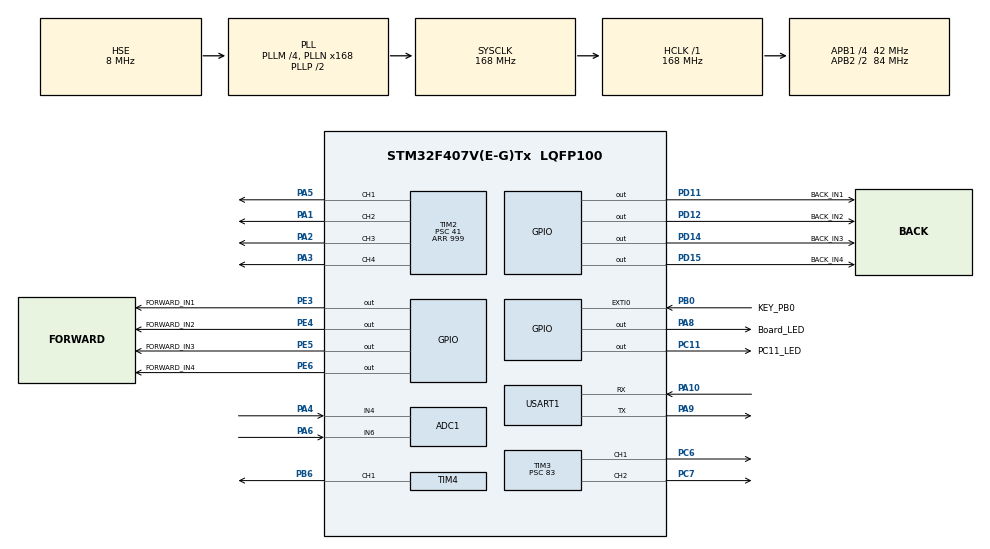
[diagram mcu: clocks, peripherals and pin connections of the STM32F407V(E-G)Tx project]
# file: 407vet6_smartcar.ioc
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ADC1.Channel-0\#ChannelRegularConversion=ADC_CHANNEL_4
ADC1.Channel-1\#ChannelRegularConversion=ADC_CHANNEL_6
ADC1.ContinuousConvMode=ENABLE
ADC1.DMAContinuousRequests=ENABLE
ADC1.NbrOfConversion=2
ADC1.NbrOfConversionFlag=1
ADC1.Rank-0\#ChannelRegularConversion=1
ADC1.Rank-1\#ChannelRegularConversion=2
ADC1.SamplingTime-0\#ChannelRegularConversion=ADC_SAMPLETIME_3CYCLES
ADC1.SamplingTime-1\#ChannelRegularConversion=ADC_SAMPLETIME_3CYCLES
ADC1.ScanConvMode=ENABLE
ADC1.master=1
Dma.ADC1.0.Direction=DMA_PERIPH_TO_MEMORY
Dma.ADC1.0.FIFOMode=DMA_FIFOMODE_DISABLE
Dma.ADC1.0.Instance=DMA2_Stream0
Dma.ADC1.0.MemDataAlignment=DMA_MDATAALIGN_HALFWORD
Dma.ADC1.0.MemInc=DMA_MINC_ENABLE
Dma.ADC1.0.Mode=DMA_NORMAL
Dma.ADC1.0.PeriphDataAlignment=DMA_PDATAALIGN_HALFWORD
Dma.ADC1.0.PeriphInc=DMA_PINC_DISABLE
Dma.ADC1.0.Priority=DMA_PRIORITY_LOW
Dma.Request0=ADC1
Mcu.Family=STM32F4
Mcu.Name=STM32F407V(E-G)Tx
Mcu.Package=LQFP100
NVIC.ADC_IRQn=true\:0\:0\:false\:false\:true\:true\:true\:true
NVIC.DMA2_Stream0_IRQn=true\:0\:0\:false\:false\:true\:false\:true\:true
NVIC.EXTI0_IRQn=true\:2\:0\:true\:false\:true\:true\:true\:true
NVIC.PriorityGroup=NVIC_PRIORITYGROUP_4
NVIC.TIM2_IRQn=true\:3\:0\:true\:false\:true\:true\:true\:true
NVIC.TIM3_IRQn=true\:3\:0\:true\:false\:true\:true\:true\:true
NVIC.TIM4_IRQn=true\:3\:0\:true\:false\:true\:true\:true\:true
NVIC.TIM6_DAC_IRQn=true\:4\:0\:true\:false\:true\:true\:true\:true
NVIC.USART1_IRQn=true\:1\:0\:true\:false\:true\:true\:true\:true
PA1.Signal=S_TIM2_CH2
PA10.Mode=Asynchronous
PA10.Signal=USART1_RX
PA13.Mode=Serial_Wire
PA13.Signal=SYS_JTMS-SWDIO
PA14.Mode=Serial_Wire
PA14.Signal=SYS_JTCK-SWCLK
PA2.Signal=S_TIM2_CH3
PA3.Signal=S_TIM2_CH4
PA4.Signal=ADCx_IN4
PA5.Signal=S_TIM2_CH1_ETR
PA6.Signal=ADCx_IN6
PA8.GPIO_Label=Board_LED
PA8.PinState=GPIO_PIN_SET
PA8.Signal=GPIO_Output
PA9.Mode=Asynchronous
PA9.Signal=USART1_TX
PB0.GPIO_Label=KEY_PB0
PB0.GPIO_ModeDefaultEXTI=GPIO_MODE_IT_RISING
PB0.GPIO_PuPd=GPIO_PULLDOWN
PB0.Signal=GPXTI0
PB6.Signal=S_TIM4_CH1
PC11.GPIO_Label=PC11_LED
PC11.PinState=GPIO_PIN_RESET
PC11.Signal=GPIO_Output
PC6.Signal=S_TIM3_CH1
PC7.Signal=S_TIM3_CH2
PD11.GPIO_Label=BACK_IN1
PD11.GPIO_Speed=GPIO_SPEED_FREQ_HIGH
PD11.PinState=GPIO_PIN_RESET
PD11.Signal=GPIO_Output
PD12.GPIO_Label=BACK_IN2
PD12.GPIO_Speed=GPIO_SPEED_FREQ_HIGH
PD12.PinState=GPIO_PIN_RESET
PD12.Signal=GPIO_Output
PD14.GPIO_Label=BACK_IN3
PD14.GPIO_Speed=GPIO_SPEED_FREQ_HIGH
PD14.PinState=GPIO_PIN_RESET
PD14.Signal=GPIO_Output
PD15.GPIO_Label=BACK_IN4
PD15.GPIO_Speed=GPIO_SPEED_FREQ_HIGH
PD15.PinState=GPIO_PIN_RESET
PD15.Signal=GPIO_Output
PE3.GPIO_Label=FORWARD_IN1
PE3.GPIO_Speed=GPIO_SPEED_FREQ_HIGH
PE3.PinState=GPIO_PIN_RESET
PE3.Signal=GPIO_Output
PE4.GPIO_Label=FORWARD_IN2
PE4.GPIO_Speed=GPIO_SPEED_FREQ_HIGH
PE4.PinState=GPIO_PIN_RESET
PE4.Signal=GPIO_Output
PE5.GPIO_Label=FORWARD_IN3
PE5.GPIO_Speed=GPIO_SPEED_FREQ_HIGH
PE5.PinState=GPIO_PIN_RESET
PE5.Signal=GPIO_Output
PE6.GPIO_Label=FORWARD_IN4
PE6.GPIO_Speed=GPIO_SPEED_FREQ_HIGH
PE6.PinState=GPIO_PIN_RESET
PE6.Signal=GPIO_Output
PH0-OSC_IN.Mode=HSE-External-Oscillator
PH0-OSC_IN.Signal=RCC_OSC_IN
PH1-OSC_OUT.Mode=HSE-External-Oscillator
PH1-OSC_OUT.Signal=RCC_OSC_OUT
ProjectManager.HeapSize=0x200
ProjectManager.StackSize=0x400
ProjectManager.TargetToolchain=STM32CubeIDE
RCC.48MHZClocksFreq_Value=84000000
RCC.AHBFreq_Value=168000000
RCC.APB1CLKDivider=RCC_HCLK_DIV4
RCC.APB1Freq_Value=42000000
RCC.APB1TimFreq_Value=84000000
RCC.APB2CLKDivider=RCC_HCLK_DIV2
RCC.APB2Freq_Value=84000000
RCC.APB2TimFreq_Value=168000000
RCC.CortexFreq_Value=168000000
RCC.HCLKFreq_Value=168000000
RCC.HSE_VALUE=8000000
RCC.HSI_VALUE=16000000
RCC.LSE_VALUE=32768
RCC.PLLM=4
RCC.PLLN=168
RCC.PLLSourceVirtual=RCC_PLLSOURCE_HSE
RCC.SYSCLKFreq_VALUE=168000000
RCC.SYSCLKSource=RCC_SYSCLKSOURCE_PLLCLK
RCC.VCOOutputFreq_Value=336000000
SH.ADCx_IN4.0=ADC1_IN4,IN4
SH.ADCx_IN6.0=ADC1_IN6,IN6
SH.S_TIM2_CH1_ETR.0=TIM2_CH1,PWM Generation1 CH1
SH.S_TIM2_CH2.0=TIM2_CH2,PWM Generation2 CH2
SH.S_TIM2_CH3.0=TIM2_CH3,PWM Generation3 CH3
SH.S_TIM2_CH4.0=TIM2_CH4,PWM Generation4 CH4
SH.S_TIM3_CH1.0=TIM3_CH1,PWM Generation1 CH1
SH.S_TIM3_CH2.0=TIM3_CH2,PWM Generation2 CH2
SH.S_TIM4_CH1.0=TIM4_CH1,PWM Generation1 CH1
TIM2.Channel-PWM\ Generation1\ CH1=TIM_CHANNEL_1
TIM2.Channel-PWM\ Generation2\ CH2=TIM_CHANNEL_2
TIM2.Channel-PWM\ Generation3\ CH3=TIM_CHANNEL_3
TIM2.Channel-PWM\ Generation4\ CH4=TIM_CHANNEL_4
TIM2.Period=999
TIM2.Prescaler=41
TIM2.Pulse-PWM\ Generation1\ CH1=500
TIM2.Pulse-PWM\ Generation2\ CH2=500
TIM2.Pulse-PWM\ Generation3\ CH3=500
TIM2.Pulse-PWM\ Generation4\ CH4=500
TIM3.Channel-PWM\ Generation1\ CH1=TIM_CHANNEL_1
TIM3.Channel-PWM\ Generation2\ CH2=TIM_CHANNEL_2
TIM3.Period=999
TIM3.Prescaler=83
TIM3.Pulse-PWM\ Generation1\ CH1=750
TIM3.Pulse-PWM\ Generation2\ CH2=750
TIM4.Channel-PWM\ Generation1\ CH1=TIM_CHANNEL_1
TIM4.Period=999
TIM4.Prescaler=83
TIM4.Pulse-PWM\ Generation1\ CH1=750
TIM6.Period=8399
TIM6.Prescaler=9999
USART1.VirtualMode=VM_ASYNC
VP_TIM2_VS_ClockSourceINT.Mode=Internal
VP_TIM6_VS_ClockSourceINT.Mode=Enable_Timer
board=custom

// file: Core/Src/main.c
/* USER CODE BEGIN Header */
/**
  ******************************************************************************
  * @file           : main.c
  * @brief          : Main program body
  ******************************************************************************
  * @attention
  *
  * Copyright (c) 2023 STMicroelectronics.
  * All rights reserved.
  *
  * This software is licensed under terms that can be found in the LICENSE file
  * in the root directory of this software component.
  * If no LICENSE file comes with this software, it is provided AS-IS.
  *
  ******************************************************************************
  */
/* USER CODE END Header */
#include "main.h"

/* USER CODE BEGIN Includes */
#include "stdio.h"
#include <string.h>
/* USER CODE END Includes */

/* USER CODE BEGIN PD */
#define RXBUFFERSIZE 1   //串口接收缓冲区的长度

// ADC采样参数
#define ADC1_CHANNEL_NUM 2
#define ADC1_SAMPLING_TIMES 3

/* USER CODE END PD */

ADC_HandleTypeDef hadc1;
DMA_HandleTypeDef hdma_adc1;

TIM_HandleTypeDef htim2;
TIM_HandleTypeDef htim3;
TIM_HandleTypeDef htim4;
TIM_HandleTypeDef htim6;

UART_HandleTypeDef huart1;

/* USER CODE BEGIN PV */
uint16_t PwmValCH1 = 0;
uint16_t PwmValCH2 = 8200;

uint16_t tim6_counter = 0;
uint16_t tim6_desired_time = 10;

uint8_t RXBUFFER[RXBUFFERSIZE]; //串口接收数据数组

// 摇杆ADC采集数组
uint16_t ADC1_ConvertedValue[ADC1_SAMPLING_TIMES][ADC1_CHANNEL_NUM] = {0};
uint32_t ADC1_FilteredValue[ADC1_CHANNEL_NUM] = {0};
float ADC1_Measured_Voltage[ADC1_CHANNEL_NUM] = {0};

//串口发送测试
uint8_t CommInitMessage[] = "Init is ok\r\n";
uint8_t CommOkMessage[] = "Everything is ok\r\n";
uint8_t CommFlag = 0;

// 轮子工作状态枚举类型
typedef enum {
	Direction_Forward,
	Direction_Backward,
	Direction_Stop
} WheelDirection;

// 摇杆读取的数值
struct JoytickAdcValue{
	uint16_t Xaxis;
	uint16_t Yaxis;
};

//__IO uint32_t PWM_OUT ENABLE;
uint16_t DCMotor_PWM_OUT = 1;

//振动马达PWM输出flag
uint16_t Vibration_Motor_PWM_OUT = 1;

/* USER CODE END PV */

void SystemClock_Config(void);
static void MX_GPIO_Init(void);
static void MX_DMA_Init(void);
static void MX_TIM2_Init(void);
static void MX_TIM6_Init(void);
static void MX_USART1_UART_Init(void);
static void MX_ADC1_Init(void);
static void MX_TIM3_Init(void);
static void MX_TIM4_Init(void);
/* USER CODE BEGIN PFP */
static void Wheel_Rotate_Direction(WheelDirection LeftFrontDirection,
									WheelDirection RightFrontDirection,
									WheelDirection LeftRearDirection,
									WheelDirection RightRearDirection);
struct JoytickAdcValue JoytickReadValue(void);
/* USER CODE END PFP */

int main(void)
{

  /* MCU Configuration--------------------------------------------------------*/

  /* Reset of all peripherals, Initializes the Flash interface and the Systick. */
  HAL_Init();

  /* Configure the system clock */
  SystemClock_Config();

  /* Initialize all configured peripherals */
  MX_GPIO_Init();
  MX_DMA_Init();
  MX_TIM2_Init();
  MX_TIM6_Init();
  MX_USART1_UART_Init();
  MX_ADC1_Init();
  MX_TIM3_Init();
  MX_TIM4_Init();
  /* USER CODE BEGIN 2 */

  // 定义缓冲区，设置数据接收长度，开启串口中断接收
  HAL_UART_Receive_IT(&huart1, (uint8_t *)RXBUFFER, RXBUFFERSIZE);

  // 测试发送
  HAL_UART_Transmit(&huart1, CommInitMessage, sizeof(CommInitMessage), 1000);

  // 设置pwm的频率为10khz， pwm的频率范围一般要为1khz - 20khz
  HAL_TIM_Base_Start_IT(&htim2);
  HAL_TIM_PWM_Start(&htim2, TIM_CHANNEL_1);
  HAL_TIM_PWM_Start(&htim2, TIM_CHANNEL_2);
  HAL_TIM_PWM_Start(&htim2, TIM_CHANNEL_3);
  HAL_TIM_PWM_Start(&htim2, TIM_CHANNEL_4);

  HAL_TIM_Base_Start_IT(&htim3);
  HAL_TIM_PWM_Start(&htim3, TIM_CHANNEL_1);
  HAL_TIM_PWM_Start(&htim3, TIM_CHANNEL_2);
  HAL_TIM_PWM_Start(&htim3, TIM_CHANNEL_4);

  HAL_TIM_Base_Start_IT(&htim4);
  HAL_TIM_PWM_Start(&htim4, TIM_CHANNEL_1);

  HAL_TIM_Base_Start_IT(&htim6);

  /*********小车行进测试************

  // 前进
  Wheel_Rotate_Direction(Direction_Forward, Direction_Forward, Direction_Forward, Direction_Forward);
  HAL_Delay(2000);

  // 后退
  Wheel_Rotate_Direction(Direction_Backward, Direction_Backward, Direction_Backward, Direction_Backward);
  HAL_Delay(2000);

  // 向左
  Wheel_Rotate_Direction(Direction_Backward, Direction_Forward, Direction_Forward, Direction_Backward);
  HAL_Delay(2000);

  // 向右
  Wheel_Rotate_Direction(Direction_Forward, Direction_Backward, Direction_Backward, Direction_Forward);
  HAL_Delay(2000);

  // 电机制动
  Wheel_Rotate_Direction(Direction_Stop, Direction_Stop, Direction_Stop, Direction_Stop);

  *********小车行进测试************/

  HAL_UART_Transmit(&huart1, CommOkMessage, sizeof(CommOkMessage), 1000);

  /* USER CODE END 2 */

  /* Infinite loop */
  while (1)
  {

    /* USER CODE BEGIN 3 */

	  HAL_ADC_Start_DMA(&hadc1, (uint32_t *)&ADC1_ConvertedValue, ADC1_SAMPLING_TIMES * ADC1_CHANNEL_NUM);
	  HAL_Delay(50);

	  struct JoytickAdcValue Value = JoytickReadValue();

	  printf("------------\n");
	  printf("%d, %d\n", Value.Xaxis, Value.Yaxis);

	  if(Value.Xaxis >=0 && Value.Xaxis <=1000)
	  {
		  Wheel_Rotate_Direction(Direction_Backward, Direction_Forward, Direction_Forward, Direction_Backward);
	  }
	  else if(Value.Xaxis >=3095 && Value.Xaxis <=4095)
	  {
		  Wheel_Rotate_Direction(Direction_Forward, Direction_Backward, Direction_Backward, Direction_Forward);
	  }
	  else if(Value.Yaxis >=0 && Value.Yaxis <=1000)
	  {
		  Wheel_Rotate_Direction(Direction_Forward, Direction_Forward, Direction_Forward, Direction_Forward);
	  }
	  else if(Value.Yaxis >=3095 && Value.Yaxis <=4095)
	  {
		  Wheel_Rotate_Direction(Direction_Backward, Direction_Backward, Direction_Backward, Direction_Backward);
	  }
	  else
	  {
		  Wheel_Rotate_Direction(Direction_Stop, Direction_Stop, Direction_Stop, Direction_Stop);
	  }

//	  HAL_Delay(500);

//	  // 串口接收测试
//	  if(RXBUFFER[0] == 0x10)
//	  {
//		  HAL_GPIO_WritePin(PC11_LED_GPIO_Port, PC11_LED_Pin, GPIO_PIN_SET);
//	  }
//	  else
//	  {
//		  HAL_GPIO_WritePin(PC11_LED_GPIO_Port, PC11_LED_Pin, GPIO_PIN_RESET);
//	  }

  }
  /* USER CODE END 3 */
}

void SystemClock_Config(void)
{
  RCC_OscInitTypeDef RCC_OscInitStruct = {0};
  RCC_ClkInitTypeDef RCC_ClkInitStruct = {0};

  /** Configure the main internal regulator output voltage
  */
  __HAL_RCC_PWR_CLK_ENABLE();
  __HAL_PWR_VOLTAGESCALING_CONFIG(PWR_REGULATOR_VOLTAGE_SCALE1);

  /** Initializes the RCC Oscillators according to the specified parameters
  * in the RCC_OscInitTypeDef structure.
  */
  RCC_OscInitStruct.OscillatorType = RCC_OSCILLATORTYPE_HSE;
  RCC_OscInitStruct.HSEState = RCC_HSE_ON;
  RCC_OscInitStruct.PLL.PLLState = RCC_PLL_ON;
  RCC_OscInitStruct.PLL.PLLSource = RCC_PLLSOURCE_HSE;
  RCC_OscInitStruct.PLL.PLLM = 4;
  RCC_OscInitStruct.PLL.PLLN = 168;
  RCC_OscInitStruct.PLL.PLLP = RCC_PLLP_DIV2;
  RCC_OscInitStruct.PLL.PLLQ = 4;
  if (HAL_RCC_OscConfig(&RCC_OscInitStruct) != HAL_OK)
  {
    Error_Handler();
  }

  /** Initializes the CPU, AHB and APB buses clocks
  */
  RCC_ClkInitStruct.ClockType = RCC_CLOCKTYPE_HCLK|RCC_CLOCKTYPE_SYSCLK
                              |RCC_CLOCKTYPE_PCLK1|RCC_CLOCKTYPE_PCLK2;
  RCC_ClkInitStruct.SYSCLKSource = RCC_SYSCLKSOURCE_PLLCLK;
  RCC_ClkInitStruct.AHBCLKDivider = RCC_SYSCLK_DIV1;
  RCC_ClkInitStruct.APB1CLKDivider = RCC_HCLK_DIV4;
  RCC_ClkInitStruct.APB2CLKDivider = RCC_HCLK_DIV2;

  if (HAL_RCC_ClockConfig(&RCC_ClkInitStruct, FLASH_LATENCY_5) != HAL_OK)
  {
    Error_Handler();
  }
}

static void MX_ADC1_Init(void)
{

  ADC_ChannelConfTypeDef sConfig = {0};

  /** Configure the global features of the ADC (Clock, Resolution, Data Alignment and number of conversion)
  */
  hadc1.Instance = ADC1;
  hadc1.Init.ClockPrescaler = ADC_CLOCK_SYNC_PCLK_DIV4;
  hadc1.Init.Resolution = ADC_RESOLUTION_12B;
  hadc1.Init.ScanConvMode = ENABLE;
  hadc1.Init.ContinuousConvMode = ENABLE;
  hadc1.Init.DiscontinuousConvMode = DISABLE;
  hadc1.Init.ExternalTrigConvEdge = ADC_EXTERNALTRIGCONVEDGE_NONE;
  hadc1.Init.ExternalTrigConv = ADC_SOFTWARE_START;
  hadc1.Init.DataAlign = ADC_DATAALIGN_RIGHT;
  hadc1.Init.NbrOfConversion = 2;
  hadc1.Init.DMAContinuousRequests = ENABLE;
  hadc1.Init.EOCSelection = ADC_EOC_SINGLE_CONV;
  if (HAL_ADC_Init(&hadc1) != HAL_OK)
  {
    Error_Handler();
  }

  /** Configure for the selected ADC regular channel its corresponding rank in the sequencer and its sample time.
  */
  sConfig.Channel = ADC_CHANNEL_4;
  sConfig.Rank = 1;
  sConfig.SamplingTime = ADC_SAMPLETIME_3CYCLES;
  if (HAL_ADC_ConfigChannel(&hadc1, &sConfig) != HAL_OK)
  {
    Error_Handler();
  }

  /** Configure for the selected ADC regular channel its corresponding rank in the sequencer and its sample time.
  */
  sConfig.Channel = ADC_CHANNEL_6;
  sConfig.Rank = 2;
  if (HAL_ADC_ConfigChannel(&hadc1, &sConfig) != HAL_OK)
  {
    Error_Handler();
  }

}

static void MX_TIM2_Init(void)
{

  TIM_ClockConfigTypeDef sClockSourceConfig = {0};
  TIM_MasterConfigTypeDef sMasterConfig = {0};
  TIM_OC_InitTypeDef sConfigOC = {0};

  htim2.Instance = TIM2;
  htim2.Init.Prescaler = 41;
  htim2.Init.CounterMode = TIM_COUNTERMODE_UP;
  htim2.Init.Period = 999;
  htim2.Init.ClockDivision = TIM_CLOCKDIVISION_DIV1;
  htim2.Init.AutoReloadPreload = TIM_AUTORELOAD_PRELOAD_DISABLE;
  if (HAL_TIM_Base_Init(&htim2) != HAL_OK)
  {
    Error_Handler();
  }
  sClockSourceConfig.ClockSource = TIM_CLOCKSOURCE_INTERNAL;
  if (HAL_TIM_ConfigClockSource(&htim2, &sClockSourceConfig) != HAL_OK)
  {
    Error_Handler();
  }
  if (HAL_TIM_PWM_Init(&htim2) != HAL_OK)
  {
    Error_Handler();
  }
  sMasterConfig.MasterOutputTrigger = TIM_TRGO_RESET;
  sMasterConfig.MasterSlaveMode = TIM_MASTERSLAVEMODE_DISABLE;
  if (HAL_TIMEx_MasterConfigSynchronization(&htim2, &sMasterConfig) != HAL_OK)
  {
    Error_Handler();
  }
  sConfigOC.OCMode = TIM_OCMODE_PWM1;
  sConfigOC.Pulse = 500;
  sConfigOC.OCPolarity = TIM_OCPOLARITY_HIGH;
  sConfigOC.OCFastMode = TIM_OCFAST_DISABLE;
  if (HAL_TIM_PWM_ConfigChannel(&htim2, &sConfigOC, TIM_CHANNEL_1) != HAL_OK)
  {
    Error_Handler();
  }
  if (HAL_TIM_PWM_ConfigChannel(&htim2, &sConfigOC, TIM_CHANNEL_2) != HAL_OK)
  {
    Error_Handler();
  }
  if (HAL_TIM_PWM_ConfigChannel(&htim2, &sConfigOC, TIM_CHANNEL_3) != HAL_OK)
  {
    Error_Handler();
  }
  if (HAL_TIM_PWM_ConfigChannel(&htim2, &sConfigOC, TIM_CHANNEL_4) != HAL_OK)
  {
    Error_Handler();
  }
  HAL_TIM_MspPostInit(&htim2);

}

static void MX_TIM3_Init(void)
{

  TIM_MasterConfigTypeDef sMasterConfig = {0};
  TIM_OC_InitTypeDef sConfigOC = {0};

  htim3.Instance = TIM3;
  htim3.Init.Prescaler = 83;
  htim3.Init.CounterMode = TIM_COUNTERMODE_UP;
  htim3.Init.Period = 999;
  htim3.Init.ClockDivision = TIM_CLOCKDIVISION_DIV1;
  htim3.Init.AutoReloadPreload = TIM_AUTORELOAD_PRELOAD_DISABLE;
  if (HAL_TIM_PWM_Init(&htim3) != HAL_OK)
  {
    Error_Handler();
  }
  sMasterConfig.MasterOutputTrigger = TIM_TRGO_RESET;
  sMasterConfig.MasterSlaveMode = TIM_MASTERSLAVEMODE_DISABLE;
  if (HAL_TIMEx_MasterConfigSynchronization(&htim3, &sMasterConfig) != HAL_OK)
  {
    Error_Handler();
  }
  sConfigOC.OCMode = TIM_OCMODE_PWM1;
  sConfigOC.Pulse = 750;
  sConfigOC.OCPolarity = TIM_OCPOLARITY_HIGH;
  sConfigOC.OCFastMode = TIM_OCFAST_DISABLE;
  if (HAL_TIM_PWM_ConfigChannel(&htim3, &sConfigOC, TIM_CHANNEL_1) != HAL_OK)
  {
    Error_Handler();
  }
  if (HAL_TIM_PWM_ConfigChannel(&htim3, &sConfigOC, TIM_CHANNEL_2) != HAL_OK)
  {
    Error_Handler();
  }
  HAL_TIM_MspPostInit(&htim3);

}

static void MX_TIM4_Init(void)
{

  TIM_MasterConfigTypeDef sMasterConfig = {0};
  TIM_OC_InitTypeDef sConfigOC = {0};

  htim4.Instance = TIM4;
  htim4.Init.Prescaler = 83;
  htim4.Init.CounterMode = TIM_COUNTERMODE_UP;
  htim4.Init.Period = 999;
  htim4.Init.ClockDivision = TIM_CLOCKDIVISION_DIV1;
  htim4.Init.AutoReloadPreload = TIM_AUTORELOAD_PRELOAD_DISABLE;
  if (HAL_TIM_PWM_Init(&htim4) != HAL_OK)
  {
    Error_Handler();
  }
  sMasterConfig.MasterOutputTrigger = TIM_TRGO_RESET;
  sMasterConfig.MasterSlaveMode = TIM_MASTERSLAVEMODE_DISABLE;
  if (HAL_TIMEx_MasterConfigSynchronization(&htim4, &sMasterConfig) != HAL_OK)
  {
    Error_Handler();
  }
  sConfigOC.OCMode = TIM_OCMODE_PWM1;
  sConfigOC.Pulse = 750;
  sConfigOC.OCPolarity = TIM_OCPOLARITY_HIGH;
  sConfigOC.OCFastMode = TIM_OCFAST_DISABLE;
  if (HAL_TIM_PWM_ConfigChannel(&htim4, &sConfigOC, TIM_CHANNEL_1) != HAL_OK)
  {
    Error_Handler();
  }
  HAL_TIM_MspPostInit(&htim4);

}

static void MX_TIM6_Init(void)
{

  TIM_MasterConfigTypeDef sMasterConfig = {0};

  htim6.Instance = TIM6;
  htim6.Init.Prescaler = 9999;
  htim6.Init.CounterMode = TIM_COUNTERMODE_UP;
  htim6.Init.Period = 8399;
  htim6.Init.AutoReloadPreload = TIM_AUTORELOAD_PRELOAD_DISABLE;
  if (HAL_TIM_Base_Init(&htim6) != HAL_OK)
  {
    Error_Handler();
  }
  sMasterConfig.MasterOutputTrigger = TIM_TRGO_RESET;
  sMasterConfig.MasterSlaveMode = TIM_MASTERSLAVEMODE_DISABLE;
  if (HAL_TIMEx_MasterConfigSynchronization(&htim6, &sMasterConfig) != HAL_OK)
  {
    Error_Handler();
  }

}

static void MX_USART1_UART_Init(void)
{

  huart1.Instance = USART1;
  huart1.Init.BaudRate = 115200;
  huart1.Init.WordLength = UART_WORDLENGTH_8B;
  huart1.Init.StopBits = UART_STOPBITS_1;
  huart1.Init.Parity = UART_PARITY_NONE;
  huart1.Init.Mode = UART_MODE_TX_RX;
  huart1.Init.HwFlowCtl = UART_HWCONTROL_NONE;
  huart1.Init.OverSampling = UART_OVERSAMPLING_16;
  if (HAL_UART_Init(&huart1) != HAL_OK)
  {
    Error_Handler();
  }

}

static void MX_DMA_Init(void)
{

  /* DMA controller clock enable */
  __HAL_RCC_DMA2_CLK_ENABLE();

  /* DMA interrupt init */
  /* DMA2_Stream0_IRQn interrupt configuration */
  HAL_NVIC_SetPriority(DMA2_Stream0_IRQn, 0, 0);
  HAL_NVIC_EnableIRQ(DMA2_Stream0_IRQn);

}

static void MX_GPIO_Init(void)
{
  GPIO_InitTypeDef GPIO_InitStruct = {0};

  /* GPIO Ports Clock Enable */
  __HAL_RCC_GPIOE_CLK_ENABLE();
  __HAL_RCC_GPIOH_CLK_ENABLE();
  __HAL_RCC_GPIOA_CLK_ENABLE();
  __HAL_RCC_GPIOB_CLK_ENABLE();
  __HAL_RCC_GPIOD_CLK_ENABLE();
  __HAL_RCC_GPIOC_CLK_ENABLE();

  /*Configure GPIO pin Output Level */
  HAL_GPIO_WritePin(GPIOE, FORWARD_IN1_Pin|FORWARD_IN2_Pin|FORWARD_IN3_Pin|FORWARD_IN4_Pin, GPIO_PIN_RESET);

  /*Configure GPIO pin Output Level */
  HAL_GPIO_WritePin(GPIOD, BACK_IN1_Pin|BACK_IN2_Pin|BACK_IN3_Pin|BACK_IN4_Pin, GPIO_PIN_RESET);

  /*Configure GPIO pin Output Level */
  HAL_GPIO_WritePin(Board_LED_GPIO_Port, Board_LED_Pin, GPIO_PIN_SET);

  /*Configure GPIO pin Output Level */
  HAL_GPIO_WritePin(PC11_LED_GPIO_Port, PC11_LED_Pin, GPIO_PIN_RESET);

  /*Configure GPIO pins : FORWARD_IN1_Pin FORWARD_IN2_Pin FORWARD_IN3_Pin FORWARD_IN4_Pin */
  GPIO_InitStruct.Pin = FORWARD_IN1_Pin|FORWARD_IN2_Pin|FORWARD_IN3_Pin|FORWARD_IN4_Pin;
  GPIO_InitStruct.Mode = GPIO_MODE_OUTPUT_PP;
  GPIO_InitStruct.Pull = GPIO_NOPULL;
  GPIO_InitStruct.Speed = GPIO_SPEED_FREQ_HIGH;
  HAL_GPIO_Init(GPIOE, &GPIO_InitStruct);

  /*Configure GPIO pin : KEY_PB0_Pin */
  GPIO_InitStruct.Pin = KEY_PB0_Pin;
  GPIO_InitStruct.Mode = GPIO_MODE_IT_RISING;
  GPIO_InitStruct.Pull = GPIO_PULLDOWN;
  HAL_GPIO_Init(KEY_PB0_GPIO_Port, &GPIO_InitStruct);

  /*Configure GPIO pins : BACK_IN1_Pin BACK_IN2_Pin BACK_IN3_Pin BACK_IN4_Pin */
  GPIO_InitStruct.Pin = BACK_IN1_Pin|BACK_IN2_Pin|BACK_IN3_Pin|BACK_IN4_Pin;
  GPIO_InitStruct.Mode = GPIO_MODE_OUTPUT_PP;
  GPIO_InitStruct.Pull = GPIO_NOPULL;
  GPIO_InitStruct.Speed = GPIO_SPEED_FREQ_HIGH;
  HAL_GPIO_Init(GPIOD, &GPIO_InitStruct);

  /*Configure GPIO pin : Board_LED_Pin */
  GPIO_InitStruct.Pin = Board_LED_Pin;
  GPIO_InitStruct.Mode = GPIO_MODE_OUTPUT_PP;
  GPIO_InitStruct.Pull = GPIO_NOPULL;
  GPIO_InitStruct.Speed = GPIO_SPEED_FREQ_LOW;
  HAL_GPIO_Init(Board_LED_GPIO_Port, &GPIO_InitStruct);

  /*Configure GPIO pin : PC11_LED_Pin */
  GPIO_InitStruct.Pin = PC11_LED_Pin;
  GPIO_InitStruct.Mode = GPIO_MODE_OUTPUT_PP;
  GPIO_InitStruct.Pull = GPIO_NOPULL;
  GPIO_InitStruct.Speed = GPIO_SPEED_FREQ_LOW;
  HAL_GPIO_Init(PC11_LED_GPIO_Port, &GPIO_InitStruct);

  /* EXTI interrupt init*/
  HAL_NVIC_SetPriority(EXTI0_IRQn, 2, 0);
  HAL_NVIC_EnableIRQ(EXTI0_IRQn);

}

/* USER CODE BEGIN 4 */
void HAL_TIM_PeriodElapsedCallback(TIM_HandleTypeDef *htim)
{
//	PwmValCH1 = PwmValCH1 + 50;
//	if(PwmValCH1 > 8400)
//	{
//		PwmValCH1 = 200;
//	}
//	TIM2->CCR1 = PwmValCH1;

//	if(htim == &htim6)
//	{
//		HAL_GPIO_TogglePin(GPIOC, GPIO_PIN_11);
//		tim6_counter++;
//		if(tim6_counter == tim6_desired_time)
//		{
//			HAL_TIM_Base_Stop(&htim6);
//			tim6_counter = 0;
//			HAL_GPIO_WritePin(GPIOC, GPIO_PIN_11, GPIO_PIN_SET);
//		}
//	}

//	HAL_GPIO_TogglePin(GPIOC, GPIO_PIN_11);

}

void HAL_GPIO_EXTI_Callback(uint16_t GPIO_Pin)
{
//	HAL_Delay(10);
	if (GPIO_Pin == KEY_PB0_Pin)
	{

		HAL_GPIO_TogglePin(Board_LED_GPIO_Port, Board_LED_Pin);

		if(DCMotor_PWM_OUT == 1)
		{
			DCMotor_PWM_OUT = 0;

			HAL_TIM_PWM_Stop(&htim2, TIM_CHANNEL_1);
			HAL_TIM_PWM_Stop(&htim2, TIM_CHANNEL_2);
			HAL_TIM_PWM_Stop(&htim2, TIM_CHANNEL_3);
			HAL_TIM_PWM_Stop(&htim2, TIM_CHANNEL_4);
		}
		else
		{
			DCMotor_PWM_OUT = 1;
			HAL_TIM_PWM_Start(&htim2, TIM_CHANNEL_1);
			HAL_TIM_PWM_Start(&htim2, TIM_CHANNEL_2);
			HAL_TIM_PWM_Start(&htim2, TIM_CHANNEL_3);
			HAL_TIM_PWM_Start(&htim2, TIM_CHANNEL_4);
		}

		if (Vibration_Motor_PWM_OUT == 1)
		{
			Vibration_Motor_PWM_OUT = 0;
			HAL_TIM_PWM_Stop(&htim3, TIM_CHANNEL_1);
			HAL_TIM_PWM_Stop(&htim3, TIM_CHANNEL_2);

			HAL_TIM_PWM_Stop(&htim4, TIM_CHANNEL_1);
		}
		else
		{
			Vibration_Motor_PWM_OUT = 1;
			HAL_TIM_PWM_Start(&htim3, TIM_CHANNEL_1);
			HAL_TIM_PWM_Start(&htim3, TIM_CHANNEL_2);

			HAL_TIM_PWM_Start(&htim4, TIM_CHANNEL_1);
		}
	}
}

/**********************************************************
 *
 * 函数功能：麦克纳姆轮四个轮子方向的转动控制函数
 * 输入参数：WheelDirection枚举类型
 * 返回参数：无
 *
 *************************************************************/
static void Wheel_Rotate_Direction(WheelDirection LeftFrontDirection,
									WheelDirection RightFrontDirection,
									WheelDirection LeftRearDirection,
									WheelDirection RightRearDirection)
{
	//左前轮
	switch(LeftFrontDirection)
	{
		case Direction_Forward:
			HAL_GPIO_WritePin(FORWARD_IN1_GPIO_Port, FORWARD_IN1_Pin, GPIO_PIN_SET);
			HAL_GPIO_WritePin(FORWARD_IN2_GPIO_Port, FORWARD_IN2_Pin, GPIO_PIN_RESET);
			break;
		case Direction_Backward:
			HAL_GPIO_WritePin(FORWARD_IN1_GPIO_Port, FORWARD_IN1_Pin, GPIO_PIN_RESET);
			HAL_GPIO_WritePin(FORWARD_IN2_GPIO_Port, FORWARD_IN2_Pin, GPIO_PIN_SET);
			break;
		case Direction_Stop:
			HAL_GPIO_WritePin(FORWARD_IN1_GPIO_Port, FORWARD_IN1_Pin, GPIO_PIN_RESET);
			HAL_GPIO_WritePin(FORWARD_IN2_GPIO_Port, FORWARD_IN2_Pin, GPIO_PIN_RESET);
			break;
		default:
			break;
	}

	//右前轮
	switch(RightFrontDirection)
	{
		case Direction_Forward:
			HAL_GPIO_WritePin(FORWARD_IN3_GPIO_Port, FORWARD_IN3_Pin, GPIO_PIN_SET);
			HAL_GPIO_WritePin(FORWARD_IN4_GPIO_Port, FORWARD_IN4_Pin, GPIO_PIN_RESET);
			break;
		case Direction_Backward:
			HAL_GPIO_WritePin(FORWARD_IN3_GPIO_Port, FORWARD_IN3_Pin, GPIO_PIN_RESET);
			HAL_GPIO_WritePin(FORWARD_IN4_GPIO_Port, FORWARD_IN4_Pin, GPIO_PIN_SET);
			break;
		case Direction_Stop:
			HAL_GPIO_WritePin(FORWARD_IN3_GPIO_Port, FORWARD_IN3_Pin, GPIO_PIN_RESET);
			HAL_GPIO_WritePin(FORWARD_IN4_GPIO_Port, FORWARD_IN4_Pin, GPIO_PIN_RESET);
			break;
		default:
			break;
	}

	//左后轮
	switch(LeftRearDirection)
	{
		case Direction_Forward:
			HAL_GPIO_WritePin(BACK_IN1_GPIO_Port, BACK_IN1_Pin, GPIO_PIN_RESET);
			HAL_GPIO_WritePin(BACK_IN2_GPIO_Port, BACK_IN2_Pin, GPIO_PIN_SET);
			break;
		case Direction_Backward:
			HAL_GPIO_WritePin(BACK_IN1_GPIO_Port, BACK_IN1_Pin, GPIO_PIN_SET);
			HAL_GPIO_WritePin(BACK_IN2_GPIO_Port, BACK_IN2_Pin, GPIO_PIN_RESET);
			break;
		case Direction_Stop:
			HAL_GPIO_WritePin(BACK_IN1_GPIO_Port, BACK_IN1_Pin, GPIO_PIN_RESET);
			HAL_GPIO_WritePin(BACK_IN2_GPIO_Port, BACK_IN2_Pin, GPIO_PIN_RESET);
			break;
		default:
			break;
	}

	//右后轮
	switch(RightRearDirection)
	{
		case Direction_Forward:
			HAL_GPIO_WritePin(BACK_IN3_GPIO_Port, BACK_IN3_Pin, GPIO_PIN_SET);
			HAL_GPIO_WritePin(BACK_IN4_GPIO_Port, BACK_IN4_Pin, GPIO_PIN_RESET);
			break;
		case Direction_Backward:
			HAL_GPIO_WritePin(BACK_IN3_GPIO_Port, BACK_IN3_Pin, GPIO_PIN_RESET);
			HAL_GPIO_WritePin(BACK_IN4_GPIO_Port, BACK_IN4_Pin, GPIO_PIN_SET);
			break;
		case Direction_Stop:
			HAL_GPIO_WritePin(BACK_IN3_GPIO_Port, BACK_IN3_Pin, GPIO_PIN_RESET);
			HAL_GPIO_WritePin(BACK_IN4_GPIO_Port, BACK_IN4_Pin, GPIO_PIN_RESET);
			break;
		default:
			break;
	}
}

/**********************************************************
 *
 * 函数功能：串口中断服务函数
 *
 *************************************************************/
void HAL_UART_RxCpltCallback(UART_HandleTypeDef *huart)
{
	//接收完指定长度的数据之后需要重新开启接收中断
	HAL_UART_Receive_IT(&huart1, (uint8_t *)RXBUFFER, RXBUFFERSIZE);
}

/**********************************************************
 *
 * 函数功能：通过重定向putchar函数重定向printf函数实现串口打印
 *
 *************************************************************/
int __io_putchar(int ch)
{
	HAL_UART_Transmit(&huart1, (uint8_t *)&ch, 1, 0xFFFF);
	return ch;
}

/***********************************************
 *
函数功能：读取单个PS2摇杆模块的X轴和Y轴的AD电压值
入口值： 无
返回值： 结构体 JoytickAdcValue Value
*
 ***********************************************/
struct JoytickAdcValue JoytickReadValue(void)
{
	for(uint8_t i = 0; i < ADC1_CHANNEL_NUM; i++)
	{
	  for(uint8_t j = 0; j < ADC1_SAMPLING_TIMES; j++)
	  {
		  ADC1_FilteredValue[i] += ADC1_ConvertedValue[j][i];
	  }
	  ADC1_FilteredValue[i] /= ADC1_SAMPLING_TIMES;
	}

	struct JoytickAdcValue Value;
	Value.Xaxis = ADC1_FilteredValue[0];
	Value.Yaxis = ADC1_FilteredValue[1];

//	printf("------\n");
//
//	printf("%d, %d, %d, %d, %d, %d \n", ADC1_ConvertedValue[0][0], ADC1_ConvertedValue[0][1],
//		  ADC1_ConvertedValue[1][0],ADC1_ConvertedValue[1][1], ADC1_ConvertedValue[2][0], ADC1_ConvertedValue[2][1]);
//
//	printf("%lu, %lu \n", ADC1_FilteredValue[0], ADC1_FilteredValue[1]);

	HAL_ADC_Stop_DMA(&hadc1);

	memset(ADC1_FilteredValue, 0, sizeof(ADC1_FilteredValue));

//	for(uint8_t i = 0; i < ADC1_CHANNEL_NUM; i++)
//	{
//	  ADC1_FilteredValue[i] = 0;
//	}
	return Value;
}

/* USER CODE END 4 */

void Error_Handler(void)
{
  __disable_irq();
  while (1)
  {
  }
}
